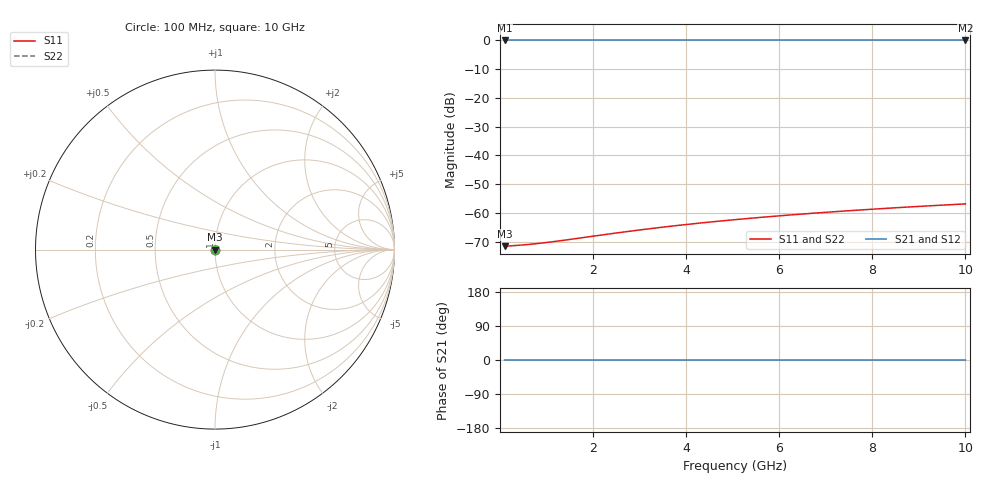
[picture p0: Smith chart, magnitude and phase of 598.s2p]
# Hz S RI R 50.00
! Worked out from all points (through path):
!   100 points, 100 MHz to 10 GHz, reference 50 ohm
!   highest |S21| = 0.00 dB at 100 MHz (marker M1); lowest = 0.0 dB at 10 GHz (marker M2)
!   lowest |S11| = -71.6 dB at 100 MHz (marker M3), VSWR 1.00, Z = 50 + j0.0014 ohm
!   |S11| at or under -10 dB: start of sweep to end of sweep
!   |S22| runs from -71.6 to -56.9 dB; largest |S21 - S12| = 1e-15
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1e8  0.000263 1.4e-05  0.9997 -2.25e-05  0.9997 -2.25e-05  0.000263 1.4e-05
3e8  0.000266 4.21e-05  0.9997 -6.75e-05  0.9997 -6.75e-05  0.000266 4.21e-05
5e8  0.000268 7.01e-05  0.9997 -0.000113  0.9997 -0.000113  0.000268 7.01e-05
8e8  0.00027 0.000112  0.9997 -0.00018  0.9997 -0.00018  0.00027 0.000112
1e9  0.000271 0.00014  0.9997 -0.000225  0.9997 -0.000225  0.000271 0.00014
1.2e9  0.000272 0.000168  0.9997 -0.00027  0.9997 -0.00027  0.000272 0.000168
1.8e9  0.000274 0.000252  0.9997 -0.000405  0.9997 -0.000405  0.000274 0.000252
2.3e9  0.000276 0.000323  0.9997 -0.000518  0.9997 -0.000518  0.000276 0.000323
2.7e9  0.000277 0.000379  0.9997 -0.000608  0.9997 -0.000608  0.000277 0.000379
3.1e9  0.000278 0.000435  0.9997 -0.000698  0.9997 -0.000698  0.000278 0.000435
3.4e9  0.000279 0.000477  0.9997 -0.000765  0.9997 -0.000765  0.000279 0.000477
3.8e9  0.00028 0.000533  0.9997 -0.000856  0.9997 -0.000856  0.00028 0.000533
4.2e9  0.000281 0.000589  0.9997 -0.000946  0.9997 -0.000946  0.000281 0.000589
4.6e9  0.000281 0.000645  0.9997 -0.00104  0.9997 -0.00104  0.000281 0.000645
5.1e9  0.000282 0.000715  0.9997 -0.00115  0.9997 -0.00115  0.000282 0.000715
5.5e9  0.000283 0.000771  0.9997 -0.00124  0.9997 -0.00124  0.000283 0.000771
5.9e9  0.000284 0.000827  0.9997 -0.00133  0.9997 -0.00133  0.000284 0.000827
6.7e9  0.000286 0.00094  0.9997 -0.00151  0.9997 -0.00151  0.000286 0.00094
7.5e9  0.000287 0.00105  0.9997 -0.00169  0.9997 -0.00169  0.000287 0.00105
8.4e9  0.000289 0.00118  0.9997 -0.00189  0.9997 -0.00189  0.000289 0.00118
9.2e9  0.00029 0.00129  0.9997 -0.00207  0.9997 -0.00207  0.00029 0.00129
1e10  0.000292 0.0014  0.9997 -0.00225  0.9997 -0.00225  0.000292 0.0014
